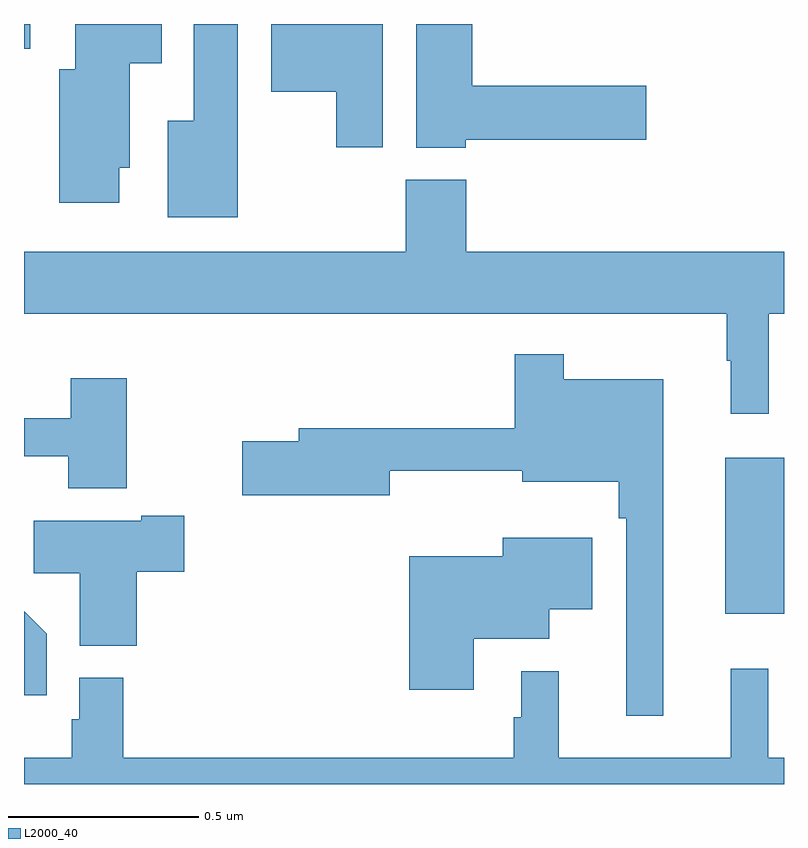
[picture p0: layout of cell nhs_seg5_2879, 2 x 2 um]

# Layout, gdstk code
import gdstk
lib = gdstk.Library(unit=1e-6, precision=1e-09)
def R(c, l, rs):  # rectangles x0, y0, x1, y1
    for r in rs: c.add(gdstk.rectangle(r[:2], r[2:], *l))
def P(c, l, *ps):  # polygons
    for p in ps: c.add(gdstk.Polygon(p, *l))
L2000_40 = (2000, 40)

nhs_seg5_2879 = lib.new_cell('nhs_seg5_2879')
R(nhs_seg5_2879, L2000_40, [(150.845,913.247,151,913.657), (149,914.734,149.017,914.799)])
P(nhs_seg5_2879, L2000_40, [(150.162,914.494),(150.637,914.494),(150.637,914.636),(150.179,914.636),(150.179,914.799),(150.032,914.799),(150.032,914.474),(150.162,914.474)],
  [(149.944,914.799),(149.651,914.799),(149.651,914.621),(149.822,914.621),(149.822,914.475),(149.944,914.475)],
  [(149.251,914.421),(149.278,914.421),(149.278,914.696),(149.362,914.696),(149.362,914.799),(149.135,914.799),(149.135,914.68),(149.093,914.68),(149.093,914.328),(149.251,914.328)],
  [(149.563,914.799),(149.447,914.799),(149.447,914.545),(149.378,914.545),(149.378,914.291),(149.563,914.291)],
  [(150.96,914.036),(151,914.036),(151,914.2),(150.164,914.2),(150.164,914.389),(150.004,914.389),(150.004,914.2),(149,914.2),(149,914.036),(150.849,914.036),(150.849,913.913),(150.86,913.913),(150.86,913.773),(150.96,913.773)],
  [(150.682,913.864),(150.421,913.864),(150.421,913.93),(150.292,913.93),(150.292,913.735),(149.723,913.735),(149.723,913.701),(149.574,913.701),(149.574,913.559),(149.962,913.559),(149.962,913.624),(150.311,913.624),(150.311,913.595),(150.565,913.595),(150.565,913.499),(150.585,913.499),(150.585,912.978),(150.682,912.978)],
  [(149.271,913.867),(149.123,913.867),(149.123,913.761),(149,913.761),(149,913.662),(149.116,913.662),(149.116,913.577),(149.271,913.577)],
  [(149.297,913.358),(149.422,913.358),(149.422,913.505),(149.309,913.505),(149.309,913.492),(149.026,913.492),(149.026,913.354),(149.147,913.354),(149.147,913.163),(149.297,913.163)],
  [(150.184,913.181),(150.382,913.181),(150.382,913.259),(150.496,913.259),(150.496,913.447),(150.26,913.447),(150.26,913.399),(150.014,913.399),(150.014,913.047),(150.184,913.047)],
  [(149.06,913.194),(149,913.254),(149,913.032),(149.06,913.032)],
  [(151,912.868),(150.958,912.868),(150.958,913.102),(150.86,913.102),(150.86,912.868),(150.407,912.868),(150.407,913.096),(150.309,913.096),(150.309,912.975),(150.289,912.975),(150.289,912.868),(149.261,912.868),(149.261,913.078),(149.145,913.078),(149.145,912.969),(149.125,912.969),(149.125,912.868),(149,912.868),(149,912.799),(151,912.799)])

lib.write_gds('nhs_seg5_2879.gds')
